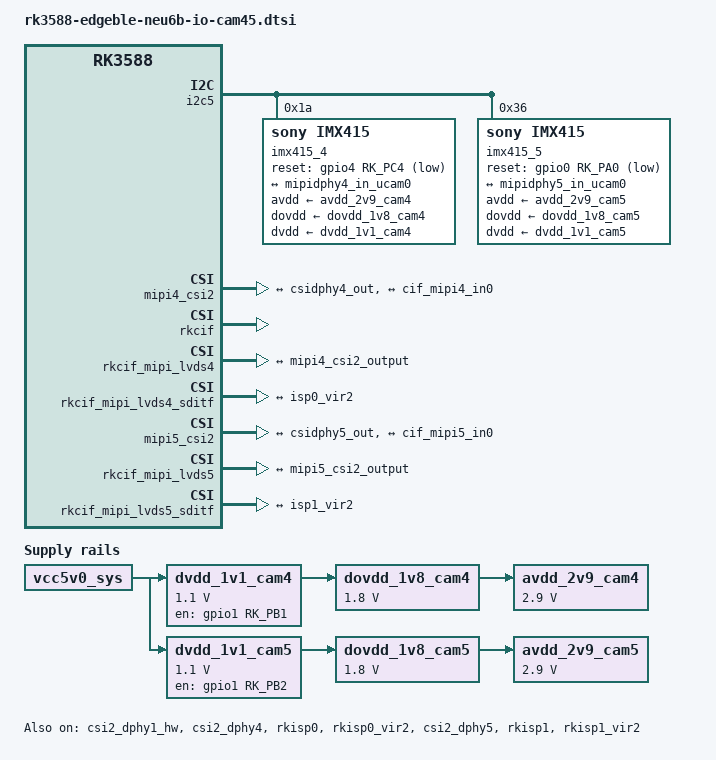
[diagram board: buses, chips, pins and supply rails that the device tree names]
// SPDX-License-Identifier: (GPL-2.0+ OR MIT)
/*
 * Copyright (c) 2023 Edgeble AI Technologies Pvt. Ltd.
 *
 * DT-overlay for the Edgeble Neu6B-IO CAM5-IMX415.
 */

/ {
	dvdd_1v1_cam4: dvdd-1v1-cam4-regulator {
		compatible = "regulator-fixed";
		regulator-name = "dvdd_1v1_cam4";
		enable-active-high;
		gpio = <&gpio1 RK_PB1 GPIO_ACTIVE_HIGH>;
		pinctrl-names = "default";
		pinctrl-0 = <&pwdn_gpio_cam4>;
		regulator-always-on;
		regulator-boot-on;
		regulator-min-microvolt = <1100000>;
		regulator-max-microvolt = <1100000>;
		vin-supply = <&vcc5v0_sys>;
	};

	dovdd_1v8_cam4: dovdd-1v8-cam4-regulator {
		compatible = "regulator-fixed";
		regulator-name = "dovdd_1v8_cam4";
		regulator-always-on;
		regulator-boot-on;
		regulator-min-microvolt = <1800000>;
		regulator-max-microvolt = <1800000>;
		vin-supply = <&dvdd_1v1_cam4>;
	};

	avdd_2v9_cam4: avdd-2v9-cam4-regulator {
		compatible = "regulator-fixed";
		regulator-name = "avdd_2v9_cam4";
		regulator-always-on;
		regulator-boot-on;
		regulator-min-microvolt = <2900000>;
		regulator-max-microvolt = <2900000>;
		vin-supply = <&dovdd_1v8_cam4>;
	};
};

&pinctrl {
	cam {
		pwdn_gpio_cam4: pwdn-gpio-cam4 {
			rockchip,pins = <1 RK_PB1 RK_FUNC_GPIO &pcfg_pull_none>;
		};
	};
};

&i2c5 {
	pinctrl-names = "default";
	pinctrl-0 = <&i2c5m4_xfer>;
	#address-cells = <1>;
	#size-cells = <0>;
	status = "okay";

	imx415_4: imx415@1a {
		compatible = "sony,imx415";
		reg = <0x1a>;
		clocks = <&cru CLK_MIPI_CAMARAOUT_M4>;
		clock-names = "xvclk";
		pinctrl-names = "default";
		pinctrl-0 = <&mipim0_camera4_clk>;
		power-domains = <&power RK3588_PD_VI>;
		reset-gpios = <&gpio4 RK_PC4 GPIO_ACTIVE_LOW>;
		avdd-supply = <&avdd_2v9_cam4>;
		dovdd-supply = <&dovdd_1v8_cam4>;
		dvdd-supply = <&dvdd_1v1_cam4>;
		rockchip,camera-module-index = <4>;
		rockchip,camera-module-facing = "back";
		rockchip,camera-module-name = "EDGEBLE-CAM4K-A00";
		rockchip,camera-module-lens-name = "DEFAULT";
		port {
			imx415_4_out0: endpoint {
				remote-endpoint = <&mipidphy4_in_ucam0>;
				data-lanes = <1 2>;
			};
		};
	};
};

&csi2_dphy1_hw {
	status = "okay";
};

&csi2_dphy4 {
	status = "okay";

	ports {
		#address-cells = <1>;
		#size-cells = <0>;

		port@0 {
			reg = <0>;
			#address-cells = <1>;
			#size-cells = <0>;

			mipidphy4_in_ucam0: endpoint@1 {
				reg = <1>;
				remote-endpoint = <&imx415_4_out0>;
				data-lanes = <1 2>;
			};
		};

		port@1 {
			reg = <1>;
			#address-cells = <1>;
			#size-cells = <0>;

			csidphy4_out: endpoint@0 {
				reg = <0>;
				remote-endpoint = <&mipi4_csi2_input>;
			};
		};
	};
};

&mipi4_csi2 {
	status = "okay";

	ports {
		#address-cells = <1>;
		#size-cells = <0>;

		port@0 {
			reg = <0>;
			#address-cells = <1>;
			#size-cells = <0>;

			mipi4_csi2_input: endpoint@1 {
				reg = <1>;
				remote-endpoint = <&csidphy4_out>;
			};
		};

		port@1 {
			reg = <1>;
			#address-cells = <1>;
			#size-cells = <0>;

			mipi4_csi2_output: endpoint@0 {
				reg = <0>;
				remote-endpoint = <&cif_mipi4_in0>;
			};
		};
	};
};

&rkcif {
	status = "okay";
};

&rkcif_mipi_lvds4 {
	status = "okay";

	port {
		cif_mipi4_in0: endpoint {
			remote-endpoint = <&mipi4_csi2_output>;
		};
	};
};

&rkcif_mipi_lvds4_sditf {
	status = "okay";

	port {
		mipi_lvds4_sditf: endpoint {
			remote-endpoint = <&isp0_vir2>;
		};
	};
};

&rkcif_mmu {
	status = "okay";
};

&rkisp0 {
	status = "okay";
};

&isp0_mmu {
	status = "okay";
};

&rkisp0_vir2 {
	status = "okay";

	port {
		#address-cells = <1>;
		#size-cells = <0>;

		isp0_vir2: endpoint@0 {
			reg = <0>;
			remote-endpoint = <&mipi_lvds4_sditf>;
		};
	};
};

/ {
	dvdd_1v1_cam5: dvdd-1v1-cam5-regulator {
		compatible = "regulator-fixed";
		regulator-name = "dvdd_1v1_cam5";
		enable-active-high;
		gpio = <&gpio1 RK_PB2 GPIO_ACTIVE_HIGH>;
		pinctrl-names = "default";
		pinctrl-0 = <&pwdn_gpio_cam5>;
		regulator-always-on;
		regulator-boot-on;
		regulator-min-microvolt = <1100000>;
		regulator-max-microvolt = <1100000>;
		vin-supply = <&vcc5v0_sys>;
	};

	dovdd_1v8_cam5: dovdd-1v8-cam5-regulator {
		compatible = "regulator-fixed";
		regulator-name = "dovdd_1v8_cam5";
		regulator-always-on;
		regulator-boot-on;
		regulator-min-microvolt = <1800000>;
		regulator-max-microvolt = <1800000>;
		vin-supply = <&dvdd_1v1_cam5>;
	};

	avdd_2v9_cam5: avdd-2v9-cam5-regulator {
		compatible = "regulator-fixed";
		regulator-name = "avdd_2v9_cam5";
		regulator-always-on;
		regulator-boot-on;
		regulator-min-microvolt = <2900000>;
		regulator-max-microvolt = <2900000>;
		vin-supply = <&dovdd_1v8_cam5>;
	};
};

&pinctrl {
	cam {
		pwdn_gpio_cam5: pwdn-gpio-cam5 {
			rockchip,pins = <1 RK_PB2 RK_FUNC_GPIO &pcfg_pull_none>;
		};
	};
};

&i2c5 {
	pinctrl-names = "default";
	pinctrl-0 = <&i2c5m4_xfer>;
	#address-cells = <1>;
	#size-cells = <0>;
	status = "okay";

	imx415_5: imx415@36 {
		compatible = "sony,imx415";
		reg = <0x36>;
		clocks = <&cru CLK_MIPI_CAMARAOUT_M4>;
		clock-names = "xvclk";
		power-domains = <&power RK3588_PD_VI>;
		reset-gpios = <&gpio0 RK_PA0 GPIO_ACTIVE_LOW>;
		avdd-supply = <&avdd_2v9_cam5>;
		dovdd-supply = <&dovdd_1v8_cam5>;
		dvdd-supply = <&dvdd_1v1_cam5>;
		rockchip,camera-module-index = <5>;
		rockchip,camera-module-facing = "back";
		rockchip,camera-module-name = "EDGEBLE-CAM4K-A00";
		rockchip,camera-module-lens-name = "DEFAULT";
		port {
			imx415_5_out0: endpoint {
				remote-endpoint = <&mipidphy5_in_ucam0>;
				data-lanes = <3 4>;
			};
		};
	};
};

&csi2_dphy1_hw {
	status = "okay";
};

&csi2_dphy5 {
	status = "okay";

	ports {
		#address-cells = <1>;
		#size-cells = <0>;

		port@0 {
			reg = <0>;
			#address-cells = <1>;
			#size-cells = <0>;

			mipidphy5_in_ucam0: endpoint@1 {
				reg = <1>;
				remote-endpoint = <&imx415_5_out0>;
				data-lanes = <3 4>;
			};
		};

		port@1 {
			reg = <1>;
			#address-cells = <1>;
			#size-cells = <0>;

			csidphy5_out: endpoint@0 {
				reg = <0>;
				remote-endpoint = <&mipi5_csi2_input>;
			};
		};
	};
};

&mipi5_csi2 {
	status = "okay";

	ports {
		#address-cells = <1>;
		#size-cells = <0>;

		port@0 {
			reg = <0>;
			#address-cells = <1>;
			#size-cells = <0>;

			mipi5_csi2_input: endpoint@1 {
				reg = <1>;
				remote-endpoint = <&csidphy5_out>;
			};
		};

		port@1 {
			reg = <1>;
			#address-cells = <1>;
			#size-cells = <0>;

			mipi5_csi2_output: endpoint@0 {
				reg = <0>;
				remote-endpoint = <&cif_mipi5_in0>;
			};
		};
	};
};

&rkcif {
	status = "okay";
};

&rkcif_mipi_lvds5 {
	status = "okay";

	port {
		cif_mipi5_in0: endpoint {
			remote-endpoint = <&mipi5_csi2_output>;
		};
	};
};

&rkcif_mipi_lvds5_sditf {
	status = "okay";

	port {
		mipi_lvds5_sditf: endpoint {
			remote-endpoint = <&isp1_vir2>;
		};
	};
};

&rkcif_mmu {
	status = "okay";
};

&rkisp1 {
	status = "okay";
};

&isp1_mmu {
	status = "okay";
};

&rkisp1_vir2 {
	status = "okay";

	port {
		#address-cells = <1>;
		#size-cells = <0>;

		isp1_vir2: endpoint@0 {
			reg = <0>;
			remote-endpoint = <&mipi_lvds5_sditf>;
		};
	};
};
